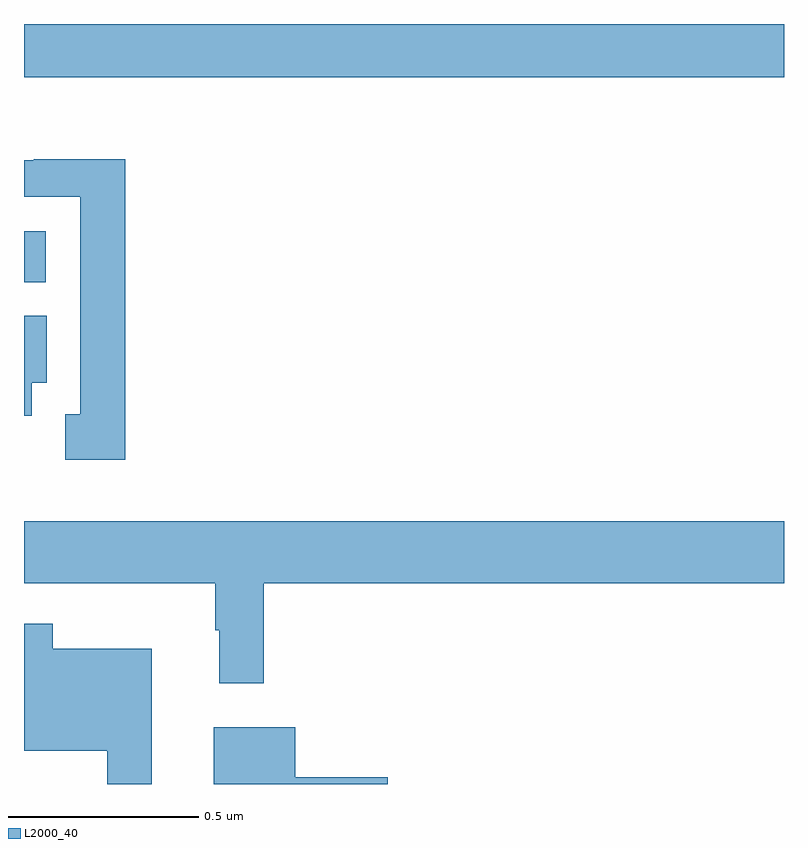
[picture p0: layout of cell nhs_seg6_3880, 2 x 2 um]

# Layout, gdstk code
import gdstk
lib = gdstk.Library(unit=1e-6, precision=1e-09)
def R(c, l, rs):  # rectangles x0, y0, x1, y1
    for r in rs: c.add(gdstk.rectangle(r[:2], r[2:], *l))
def P(c, l, *ps):  # polygons
    for p in ps: c.add(gdstk.Polygon(p, *l))
L2000_40 = (2000, 40)

nhs_seg6_3880 = lib.new_cell('nhs_seg6_3880')
R(nhs_seg6_3880, L2000_40, [(163,922.82,163.057,922.954), (163,923.36,165,923.5)])
P(nhs_seg6_3880, L2000_40, [(163.267,923.144),(163.026,923.144),(163.026,923.142),(163,923.142),(163,923.046),(163.148,923.046),(163.148,922.473),(163.109,922.473),(163.109,922.353),(163.267,922.353)],
  [(163.021,922.556),(163.06,922.556),(163.06,922.732),(163,922.732),(163,922.469),(163.021,922.469)],
  [(163.631,922.028),(165,922.028),(165,922.192),(163,922.192),(163,922.028),(163.503,922.028),(163.503,921.905),(163.514,921.905),(163.514,921.765),(163.631,921.765)],
  [(163.336,921.856),(163.075,921.856),(163.075,921.922),(163,921.922),(163,921.587),(163.219,921.587),(163.219,921.5),(163.336,921.5)],
  [(163.957,921.518),(163.714,921.518),(163.714,921.649),(163.499,921.649),(163.499,921.5),(163.957,921.5)])

lib.write_gds('nhs_seg6_3880.gds')
